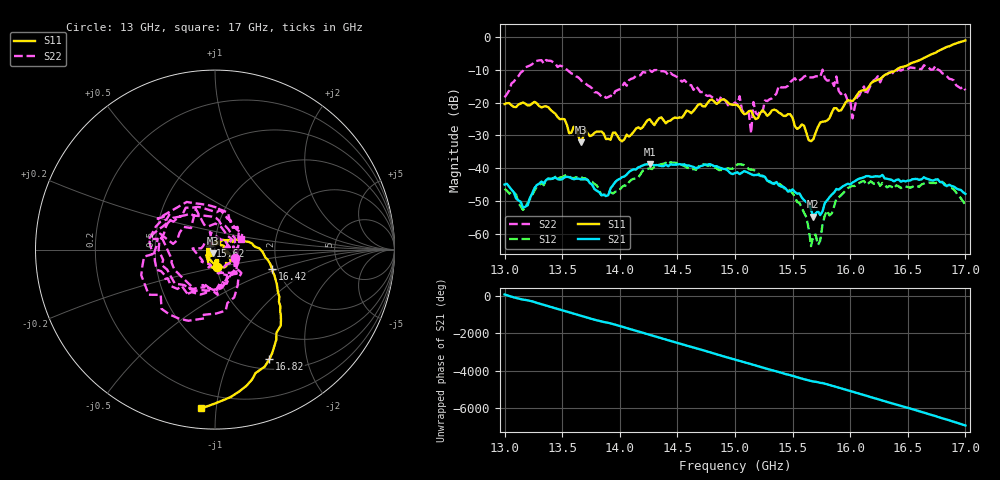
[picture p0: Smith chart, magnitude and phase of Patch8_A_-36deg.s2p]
!Keysight Technologies,P9374A,MY57211810,A.19.30.04
!Date: Friday, May 09, 2025 09:15:07
!Correction: S11(Cdelta 2-Port  )
!S21(Cdelta 2-Port  )
!S12(Cdelta 2-Port  )
!S22(Cdelta 2-Port  )
!S2P File: Measurements: S11, S21, S12, S22:
# Hz S  dB  R 50
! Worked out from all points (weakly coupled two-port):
!   201 points, 13 GHz to 17 GHz, reference 50 ohm
!   highest |S21| = -38.75 dB at 14.26 GHz (marker M1); lowest = -54.8 dB at 15.68 GHz (marker M2)
!   lowest |S11| = -32.1 dB at 13.66 GHz (marker M3), VSWR 1.05, Z = 48.8 - j2.11 ohm
!   |S11| at or under -10 dB: start of sweep to 16.4 GHz
!   |S22| runs from -29.4 to -7.0 dB; largest |S21 - S12| = 0.0037
!   S11 on the Smith chart (normalised r, x): 13 GHz: 1.01, -0.19; 15.62 GHz: 0.95, +0.04; 16.42 GHz: 1.86, -0.44; 16.82 GHz: 0.62, -1.42; 17 GHz: 0.11, -0.91
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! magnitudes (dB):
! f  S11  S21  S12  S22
! 13 GHz  -20.4  -45.0  -46.3  -18.4
! 13.16 GHz  -20.0  -52.1  -52.7  -10.3
! 13.28 GHz  -20.2  -45.1  -45.6  -7.3
! 13.66 GHz  -32.1  -43.4  -42.6  -13.0
! 13.68 GHz  -30.6  -43.4  -43.1  -13.9
! 13.88 GHz  -31.1  -48.5  -48.0  -18.6
! 14.26 GHz  -25.1  -38.8  -40.0  -10.2
! 14.34 GHz  -24.8  -39.2  -38.9  -10.5
! 15 GHz  -20.6  -41.5  -39.3  -19.9
! 15.14 GHz  -22.5  -41.8  -40.4  -29.4
! 15.16 GHz  -24.1  -42.1  -40.5  -19.8
! 15.62 GHz  -29.3  -50.4  -55.0  -11.8
! 15.66 GHz  -31.8  -52.7  -63.8  -12.3
! 15.68 GHz  -31.1  -54.8  -60.5  -12.3
! 15.72 GHz  -27.4  -53.1  -63.4  -11.9
! 15.88 GHz  -21.7  -46.4  -49.2  -12.0
! 16.02 GHz  -19.5  -44.4  -45.4  -24.8
! 16.12 GHz  -16.2  -42.8  -43.9  -15.1
! 16.34 GHz  -10.9  -43.4  -45.5  -10.8
! 16.42 GHz  -9.5  -43.5  -45.5  -9.9
! 16.82 GHz  -3.3  -45.2  -44.9  -11.4
! 17 GHz  -1.0  -47.8  -51.2  -16.2
